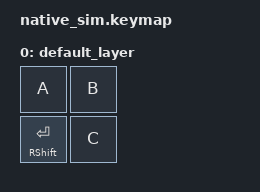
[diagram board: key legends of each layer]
#include <dt-bindings/zmk/keys.h>
#include <behaviors.dtsi>
#include <dt-bindings/zmk/input_mock.h>

&mt {
    flavor = "hold-preferred";
};

/ {
    combos {
        compatible = "zmk,combos";
        combo_one {
            timeout-ms = <40>;
            key-positions = <0 1>;
            bindings = <&kp X>;
        };
    };

    keymap {
        compatible = "zmk,keymap";

        default_layer {
            bindings = <
            &kp A         &kp B
            &mt RSHFT RET &kp C
            >;
        };
    };
};

&mock_input {
    events = <
    ZMK_INPUT_MOCK_PRESS(1,0,10)
    ZMK_INPUT_MOCK_PRESS(0,1,10)
    ZMK_INPUT_MOCK_PRESS(1,1,10)
    ZMK_INPUT_MOCK_RELEASE(0,1,50)
    ZMK_INPUT_MOCK_RELEASE(1,1,50)
    >;
};
